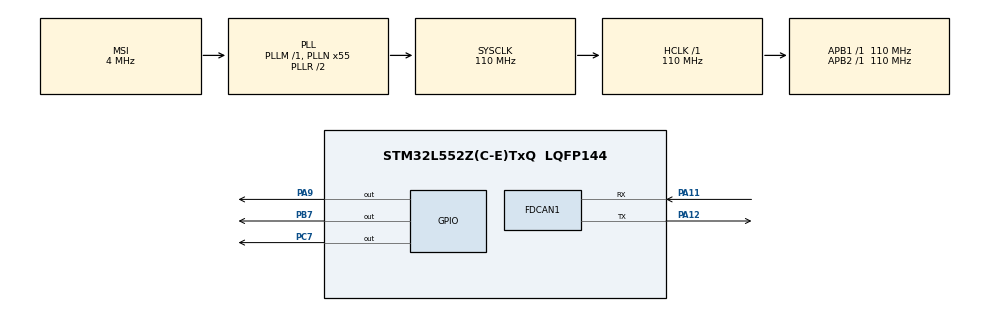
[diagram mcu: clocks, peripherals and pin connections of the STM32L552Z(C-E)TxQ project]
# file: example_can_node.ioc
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FDCAN1.CalculateBaudRateNominal=2291666
FDCAN1.CalculateTimeBitNominal=436
FDCAN1.CalculateTimeQuantumNominal=145.45454545454547
Mcu.Family=STM32L5
Mcu.Name=STM32L552Z(C-E)TxQ
Mcu.Package=LQFP144
Mcu.TrustZone=disable
NUCLEO-L552ZE-Q.BUTTON=1
NUCLEO-L552ZE-Q.LD1=true
NUCLEO-L552ZE-Q.LD2=true
NUCLEO-L552ZE-Q.LD3=true
NUCLEO-L552ZE-Q.VCP=true
NVIC.EXTI13_IRQn=true\:0\:0\:false\:false\:true\:false\:true\:true
NVIC.PriorityGroup=NVIC_PRIORITYGROUP_3
PA11.Mode=FDCAN_Activate
PA11.Signal=FDCAN1_RX
PA12.Mode=FDCAN_Activate
PA12.Signal=FDCAN1_TX
PA13\ (JTMS/SWDIO).Signal=DEBUG_JTMS-SWDIO
PA14\ (JTCK/SWCLK).Signal=DEBUG_JTCK-SWCLK
PA9.Signal=GPIO_Output
PB3\ (JTDO/TRACESWO).Signal=DEBUG_JTDO-SWO
PB7.Signal=GPIO_Output
PC13.Signal=PWR_WKUP2
PC14-OSC32_IN\ (PC14).Signal=RCC_OSC32_IN
PC15-OSC32_OUT\ (PC15).Signal=RCC_OSC32_OUT
PC7.Signal=GPIO_Output
PG7.Signal=LPUART1_TX
PG8.Signal=LPUART1_RX
ProjectManager.HeapSize=0x200
ProjectManager.StackSize=0x400
ProjectManager.TargetToolchain=STM32CubeIDE
RCC.ADCCLockSelection=RCC_ADCCLKSOURCE_SYSCLK
RCC.ADCFreq_Value=110000000
RCC.AHBFreq_Value=110000000
RCC.APB1Freq_Value=110000000
RCC.APB1TimFreq_Value=110000000
RCC.APB2Freq_Value=110000000
RCC.APB2TimFreq_Value=110000000
RCC.CK48CLockSelection=RCC_USBCLKSOURCE_HSI48
RCC.CortexFreq_Value=110000000
RCC.HCLKFreq_Value=110000000
RCC.HSE_VALUE=8000000
RCC.HSI48_VALUE=48000000
RCC.HSI_VALUE=16000000
RCC.LSE_VALUE=32768
RCC.MSI_VALUE=4000000
RCC.PLLN=55
RCC.PLLSAI1N=24
RCC.RTCClockSelection=RCC_RTCCLKSOURCE_LSE
RCC.SYSCLKFreq_VALUE=110000000
RCC.SYSCLKSource=RCC_SYSCLKSOURCE_PLLCLK
RCC.USBFreq_Value=48000000
RCC.VCOOutputFreq_Value=220000000
VP_ICACHE_VS_ICACHE.Mode=DirectMappedCache
VP_NUCLEO-L552ZE-Q_VS_BSP_COMMON.Mode=COMMON
VP_PWR_VS_DBSignals.Mode=DisableDeadBatterySignals
VP_PWR_VS_SECSignals.Mode=Security/Privilege
board=NUCLEO-L552ZE-Q

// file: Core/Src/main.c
/* USER CODE BEGIN Header */
/**
  ******************************************************************************
  * @file           : main.c
  * @brief          : Main program body
  ******************************************************************************
  * @attention
  *
  * Copyright (c) 2025 STMicroelectronics.
  * All rights reserved.
  *
  * This software is licensed under terms that can be found in the LICENSE file
  * in the root directory of this software component.
  * If no LICENSE file comes with this software, it is provided AS-IS.
  *
  ******************************************************************************
  */
/* USER CODE END Header */
#include "main.h"

COM_InitTypeDef BspCOMInit;
FDCAN_HandleTypeDef hfdcan1;

void SystemClock_Config(void);
static void MX_GPIO_Init(void);
static void MX_ICACHE_Init(void);
static void MX_FDCAN1_Init(void);

/* USER CODE BEGIN 0 */
uint8_t unique_id[16] = {
    0xBA, 0xAD, 0xF0, 0x0D,
    0x12, 0x34, 0x56, 0x78,
    0x9A, 0xBC, 0xDE, 0xF1,
    0x23, 0x45, 0x67, 0x89
};

  uint8_t node_id = 0;
  uint32_t last_status_ms = 0;
  uint32_t uptime = 0;

  FDCAN_TxHeaderTypeDef tx_header;
  uint8_t tx_data[64];

  CanardInstance canard;
  CanardTxQueueItem* tx_queue = NULL;

  uint8_t node_status_transfer_id = 0;

  bool receive_can(CanardInstance* ins, uint64_t timestamp_usec) {
      FDCAN_RxHeaderTypeDef rx_header;
      uint8_t rx_data[64];

      if (HAL_FDCAN_GetRxMessage(&hfdcan1, FDCAN_RX_FIFO0, &rx_header, rx_data) != HAL_OK) {
          return false;
      }

      CanardCANFrame frame;
      frame.id = rx_header.Identifier;
      frame.data_len = (rx_header.DataLength >> 16);
      memcpy(frame.data, rx_data, 64);

      const int16_t result = canardHandleRxFrame(ins, &frame, timestamp_usec);

      return result >= 0;
  }

  void send_canard_frame(CanardInstance* ins, const CanardCANFrame* item) {
      if (item == NULL) return;

      FDCAN_TxHeaderTypeDef tx_header = {0};

//      tx_header.Identifier = ;
      tx_header.IdType = FDCAN_EXTENDED_ID;
      tx_header.TxFrameType = FDCAN_DATA_FRAME;
      tx_header.DataLength = 64; // HAL macro: length in 4-bit encoded
      tx_header.ErrorStateIndicator = FDCAN_ESI_ACTIVE;
      tx_header.BitRateSwitch = FDCAN_BRS_OFF;
      tx_header.FDFormat = FDCAN_CLASSIC_CAN; // Use FDCAN_FD_CAN if using CAN-FD
      tx_header.TxEventFifoControl = FDCAN_NO_TX_EVENTS;
      tx_header.MessageMarker = 0;

      // Push the message to the TX FIFO queue
      if (HAL_FDCAN_AddMessageToTxFifoQ(&hfdcan1, &tx_header, (uint8_t*)item->data) != HAL_OK) {
          // Transmission failed; optionally log or handle this
      }
  }

/* USER CODE END 0 */

int main(void)
{

  /* MCU Configuration--------------------------------------------------------*/

  /* Reset of all peripherals, Initializes the Flash interface and the Systick. */
  HAL_Init();

  /* Configure the system clock */
  SystemClock_Config();

  /* Initialize all configured peripherals */
  MX_GPIO_Init();
  MX_ICACHE_Init();
  MX_FDCAN1_Init();

  /* Initialize leds */
  BSP_LED_Init(LED_GREEN);
  BSP_LED_Init(LED_BLUE);
  BSP_LED_Init(LED_RED);

  /* Initialize USER push-button, will be used to trigger an interrupt each time it's pressed.*/
  BSP_PB_Init(BUTTON_USER, BUTTON_MODE_EXTI);

  /* Initialize COM1 port (115200, 8 bits (7-bit data + 1 stop bit), no parity */
  BspCOMInit.BaudRate   = 115200;
  BspCOMInit.WordLength = COM_WORDLENGTH_8B;
  BspCOMInit.StopBits   = COM_STOPBITS_1;
  BspCOMInit.Parity     = COM_PARITY_NONE;
  BspCOMInit.HwFlowCtl  = COM_HWCONTROL_NONE;
  if (BSP_COM_Init(COM1, &BspCOMInit) != BSP_ERROR_NONE)
  {
    Error_Handler();
  }

  /* Infinite loop */
  /* USER CODE BEGIN WHILE */

  request_node_id();

  while (1)
  {
	  const uint32_t now_ms = HAL_GetTick();

	  CanardRxTransfer transfer;
	  if (receive_can(&canard, &transfer)) {
		  if (transfer.data_type_id == UAVCAN_PROTOCOL_DYNAMIC_NODE_ID_ALLOCATION_ID) {
			  struct uavcan_protocol_dynamic_node_id_Allocation req;
			  bool success = uavcan_protocol_dynamic_node_id_Allocation_decode(&transfer, &req);
			  if (success && memcmp(req.unique_id, unique_id, 16) == 0) {
				  node_id = req.node_id;
				  canard.node_id = node_id;
			  }
		  }
	  }

	  if (now_ms - last_status_ms > 1000 && node_id != 0) {
		  send_node_status();
		  last_status_ms = now_ms;
	  }

	  CanardCANFrame* item = canardPeekTxQueue(&canard);
	  while (item) {
		  send_canard_frame(&canard, item);  // implement this to call HAL_FDCAN_AddMessageToTxFifoQ
		  canardPopTxQueue(&canard);
		  item = canardPeekTxQueue(&canard);
	  }
    /* USER CODE END WHILE */

  }
}

void SystemClock_Config(void)
{
  RCC_OscInitTypeDef RCC_OscInitStruct = {0};
  RCC_ClkInitTypeDef RCC_ClkInitStruct = {0};

  /** Configure the main internal regulator output voltage
  */
  if (HAL_PWREx_ControlVoltageScaling(PWR_REGULATOR_VOLTAGE_SCALE0) != HAL_OK)
  {
    Error_Handler();
  }

  /** Initializes the RCC Oscillators according to the specified parameters
  * in the RCC_OscInitTypeDef structure.
  */
  RCC_OscInitStruct.OscillatorType = RCC_OSCILLATORTYPE_MSI;
  RCC_OscInitStruct.MSIState = RCC_MSI_ON;
  RCC_OscInitStruct.MSICalibrationValue = RCC_MSICALIBRATION_DEFAULT;
  RCC_OscInitStruct.MSIClockRange = RCC_MSIRANGE_6;
  RCC_OscInitStruct.PLL.PLLState = RCC_PLL_ON;
  RCC_OscInitStruct.PLL.PLLSource = RCC_PLLSOURCE_MSI;
  RCC_OscInitStruct.PLL.PLLM = 1;
  RCC_OscInitStruct.PLL.PLLN = 55;
  RCC_OscInitStruct.PLL.PLLP = RCC_PLLP_DIV7;
  RCC_OscInitStruct.PLL.PLLQ = RCC_PLLQ_DIV2;
  RCC_OscInitStruct.PLL.PLLR = RCC_PLLR_DIV2;
  if (HAL_RCC_OscConfig(&RCC_OscInitStruct) != HAL_OK)
  {
    Error_Handler();
  }

  /** Initializes the CPU, AHB and APB buses clocks
  */
  RCC_ClkInitStruct.ClockType = RCC_CLOCKTYPE_HCLK|RCC_CLOCKTYPE_SYSCLK
                              |RCC_CLOCKTYPE_PCLK1|RCC_CLOCKTYPE_PCLK2;
  RCC_ClkInitStruct.SYSCLKSource = RCC_SYSCLKSOURCE_PLLCLK;
  RCC_ClkInitStruct.AHBCLKDivider = RCC_SYSCLK_DIV1;
  RCC_ClkInitStruct.APB1CLKDivider = RCC_HCLK_DIV1;
  RCC_ClkInitStruct.APB2CLKDivider = RCC_HCLK_DIV1;

  if (HAL_RCC_ClockConfig(&RCC_ClkInitStruct, FLASH_LATENCY_5) != HAL_OK)
  {
    Error_Handler();
  }
}

static void MX_FDCAN1_Init(void)
{

  hfdcan1.Instance = FDCAN1;
  hfdcan1.Init.ClockDivider = FDCAN_CLOCK_DIV1;
  hfdcan1.Init.FrameFormat = FDCAN_FRAME_CLASSIC;
  hfdcan1.Init.Mode = FDCAN_MODE_NORMAL;
  hfdcan1.Init.AutoRetransmission = DISABLE;
  hfdcan1.Init.TransmitPause = DISABLE;
  hfdcan1.Init.ProtocolException = DISABLE;
  hfdcan1.Init.NominalPrescaler = 16;
  hfdcan1.Init.NominalSyncJumpWidth = 1;
  hfdcan1.Init.NominalTimeSeg1 = 1;
  hfdcan1.Init.NominalTimeSeg2 = 1;
  hfdcan1.Init.DataPrescaler = 1;
  hfdcan1.Init.DataSyncJumpWidth = 1;
  hfdcan1.Init.DataTimeSeg1 = 1;
  hfdcan1.Init.DataTimeSeg2 = 1;
  hfdcan1.Init.StdFiltersNbr = 0;
  hfdcan1.Init.ExtFiltersNbr = 0;
  hfdcan1.Init.TxFifoQueueMode = FDCAN_TX_FIFO_OPERATION;
  if (HAL_FDCAN_Init(&hfdcan1) != HAL_OK)
  {
    Error_Handler();
  }

}

static void MX_ICACHE_Init(void)
{

  /** Enable instruction cache in 1-way (direct mapped cache)
  */
  if (HAL_ICACHE_ConfigAssociativityMode(ICACHE_1WAY) != HAL_OK)
  {
    Error_Handler();
  }
  if (HAL_ICACHE_Enable() != HAL_OK)
  {
    Error_Handler();
  }

}

static void MX_GPIO_Init(void)
{

  /* GPIO Ports Clock Enable */
  __HAL_RCC_GPIOC_CLK_ENABLE();
  __HAL_RCC_GPIOA_CLK_ENABLE();
  __HAL_RCC_GPIOB_CLK_ENABLE();

}

/* USER CODE BEGIN 4 */

void send_node_status(void) {
    struct uavcan_protocol_NodeStatus msg;
    msg.uptime_sec = uptime++;
    msg.health = 0;
    msg.mode = 0;
    msg.sub_mode = 0;
    msg.vendor_specific_status_code = 0;

    uint8_t buffer[UAVCAN_PROTOCOL_NODESTATUS_MAX_SIZE];
    const int size = uavcan_protocol_NodeStatus_encode(&msg, buffer);

    canardBroadcast(
        &canard,                                 // Canard instance
        CanardTransferTypeBroadcast,             // Type: Broadcast
        UAVCAN_PROTOCOL_NODESTATUS_SIGNATURE,    // Signature
        UAVCAN_PROTOCOL_NODESTATUS_ID,           // Data Type ID
        buffer,                                  // Encoded payload
        (uint16_t)size,                          // Payload length
        &node_status_transfer_id                 // Transfer ID (incremented automatically)
    );
}

void request_node_id(void) {
	struct uavcan_protocol_dynamic_node_id_Allocation req;
    req.node_id = 0;
    req.first_part_of_unique_id = true;
    req.unique_id.len = 16;
    memcpy(req.unique_id.data, unique_id, 16);

    uint8_t buffer[UAVCAN_PROTOCOL_DYNAMIC_NODE_ID_ALLOCATION_MAX_SIZE];
    const int size = uavcan_protocol_dynamic_node_id_Allocation_encode(&req, buffer);
    canardBroadcast(&canard,
    	    CanardTransferTypeBroadcast,
    	    UAVCAN_PROTOCOL_DYNAMIC_NODE_ID_ALLOCATION_SIGNATURE,
    	    UAVCAN_PROTOCOL_DYNAMIC_NODE_ID_ALLOCATION_ID,
    	    0,
			buffer,
    	    (uint16_t)size
    	    );
}

/* USER CODE END 4 */

void Error_Handler(void)
{
  __disable_irq();
  while (1)
  {
  }
}
